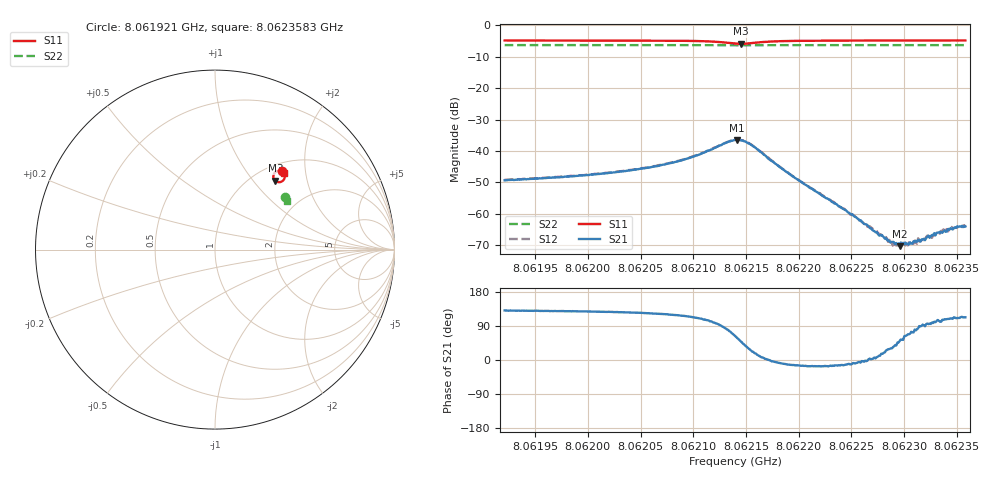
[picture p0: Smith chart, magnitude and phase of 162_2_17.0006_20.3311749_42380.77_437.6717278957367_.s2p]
#  HZ  S  RI  R  50.00
! Rohde & Schwarz Vector Network Analyzer
! Rohde-Schwarz,ZNB20-2Port,1311601062101988,3.16
! Created: UTC 3/20/2024, 10:59:17 PM
! freq[Hz]  re:S11  im:S11  re:S21  im:S21  re:S12  im:S12  re:S22  im:S22
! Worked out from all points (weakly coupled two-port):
!   401 points, 8.061921 GHz to 8.0623583 GHz, reference 50 ohm
!   highest |S21| = -36.47 dB at 8.0621419 GHz (marker M1); lowest = -70.4 dB at 8.062296 GHz (marker M2)
!   lowest |S11| = -5.9 dB at 8.0621451 GHz (marker M3), VSWR 3.08, Z = 63 + j65.2 ohm
!   |S11| at or under -10 dB: nowhere
!   |S22| runs from -6.3 to -6.3 dB; largest |S21 - S12| = 0.0011
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8.06192101e9  0.3713 0.4401  -0.00223 0.00257  -0.00208 0.00275  0.3874 0.2929
8.06199426e9  0.3773 0.4343  -0.00253 0.00318  -0.00236 0.00336  0.39 0.2892
8.06203581e9  0.3814 0.4295  -0.00279 0.00387  -0.0026 0.00407  0.3914 0.2871
8.06206751e9  0.385 0.4234  -0.00306 0.00492  -0.00287 0.00521  0.3924 0.2853
8.06209703e9  0.3886 0.4123  -0.0032 0.00711  -0.0028 0.00738  0.3933 0.2834
8.06212218e9  0.3838 0.3904  -0.00127 0.0115  -0.000463 0.0115  0.3935 0.2813
8.06213967e9  0.3509 0.3761  0.00662 0.0134  0.0075 0.013  0.3924 0.2804
8.06214186e9  0.3447 0.3781  0.00798 0.0127  0.00875 0.0123  0.3923 0.2805
8.06214514e9  0.3362 0.3833  0.00961 0.0112  0.0104 0.0107  0.3921 0.2808
8.06215717e9  0.3256 0.4138  0.011 0.00428  0.0113 0.00342  0.3925 0.2816
8.0621845e9  0.3508 0.4388  0.00509 -0.000847  0.00511 -0.00115  0.3949 0.2811
8.06221293e9  0.3648 0.4387  0.0024 -0.000678  0.00233 -0.000872  0.3963 0.2795
8.06225229e9  0.3739 0.4353  0.000918 -0.00013  0.000908 -0.000212  0.3978 0.2774
8.06228618e9  0.3785 0.4328  0.000316 0.000174  0.000337 0.000169  0.3991 0.2757
8.06229165e9  0.3792 0.4324  0.000256 0.000207  0.000248 0.000201  0.3994 0.2753
8.06229602e9  0.3796 0.432  0.000193 0.000234  0.000206 0.00023  0.3994 0.2752
8.06230149e9  0.3802 0.4316  0.000153 0.000309  0.000162 0.000267  0.3997 0.2748
8.06230586e9  0.3806 0.4312  0.000121 0.000327  0.000134 0.000315  0.3998 0.2747
8.06231023e9  0.3811 0.4309  5.92e-05 0.000347  0.000107 0.000355  0.4 0.2745
8.06234303e9  0.3842 0.4289  -0.000174 0.000523  -0.000152 0.000581  0.401 0.2727
8.06235287e9  0.3849 0.4282  -0.000224 0.000583  -0.000214 0.000576  0.4014 0.2723
8.06235834e9  0.3854 0.4278  -0.00024 0.000578  -0.00018 0.000588  0.4016 0.2721
